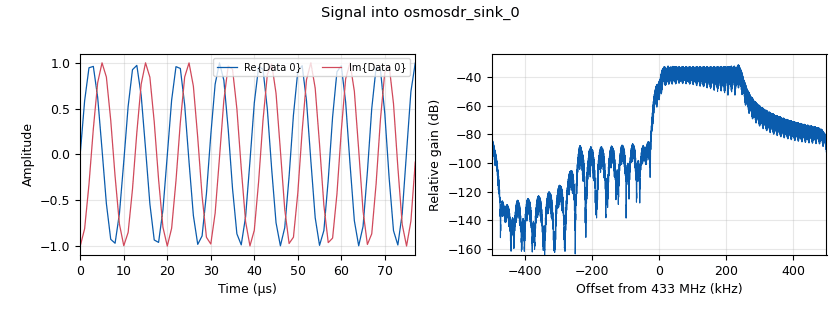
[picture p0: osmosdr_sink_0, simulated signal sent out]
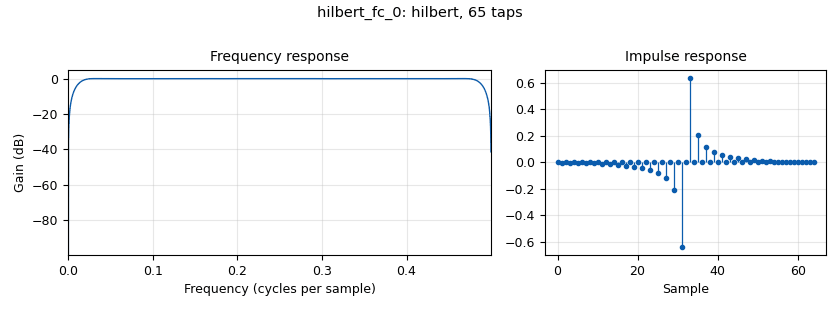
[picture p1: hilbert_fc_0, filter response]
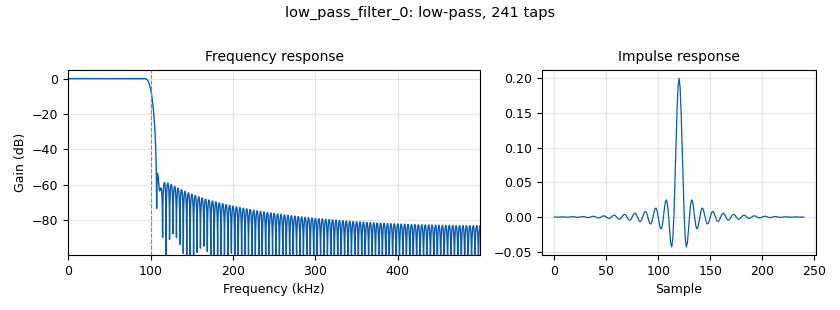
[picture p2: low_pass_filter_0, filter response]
options:
  parameters:
    author: popikeyshen
    generate_options: qt_gui
    id: id
    output_language: python
    title: Not titled yet
  states: {}

blocks:
- name: Bandwith
  id: variable_qtgui_range
  parameters:
    orient: Qt.Horizontal
    start: 1e5
    step: '100000'
    stop: 20e6
    value: 1e5
    widget: slider
  states: {}
- name: Frequency
  id: variable_qtgui_range
  parameters:
    orient: Qt.Horizontal
    start: 433e6
    step: 1e6
    stop: 2450e6
    value: 433e6
    widget: slider
  states: {}
- name: band
  id: variable
  parameters:
    value: '1000000'
  states: {}
- name: sample_rate
  id: variable
  parameters:
    value: int(1000000)
  states: {}
- name: analog_sig_source_x_0
  id: analog_sig_source_x
  parameters:
    amp: '0.5'
    freq: 1e3
    offset: '0'
    phase: '0'
    samp_rate: sample_rate
    type: float
    waveform: analog.GR_SAW_WAVE
  states: {}
- name: analog_sig_source_x_0_0
  id: analog_sig_source_x
  parameters:
    amp: '0.5'
    freq: 1e6
    offset: '0'
    phase: '0'
    samp_rate: sample_rate
    type: float
    waveform: analog.GR_SAW_WAVE
  states: {}
- name: blocks_vco_f_0
  id: blocks_vco_f
  parameters:
    amplitude: '1'
    samp_rate: sample_rate*2
    sensitivity: 6.28e6
  states: {}
- name: hilbert_fc_0
  id: hilbert_fc
  parameters:
    num_taps: '65'
    win: firdes.WIN_HAMMING
  states: {}
- name: low_pass_filter_0
  id: low_pass_filter
  parameters:
    cutoff_freq: 10e4
    decim: '1'
    gain: '1'
    samp_rate: sample_rate
    type: fir_filter_ccf
    width: 10e3
    win: firdes.WIN_HAMMING
  states: {}
- name: osmosdr_sink_0
  id: osmosdr_sink
  parameters:
    args: bladerf=0
    bb_gain0: '10'
    freq0: Frequency
    gain0: '5'
    if_gain0: '10'
    sample_rate: sample_rate
    sync: sync
    type: fc32
  states: {}
- name: osmosdr_source_0
  id: osmosdr_source
  parameters:
    args: bladerf=0
    bb_gain0: '20'
    freq0: Frequency
    gain0: '10'
    gain_mode0: 'False'
    if_gain0: '20'
    sample_rate: sample_rate
    sync: sync
    type: fc32
  states: {}
- name: qtgui_sink_x_0
  id: qtgui_sink_x
  parameters:
    bw: sample_rate
    fc: '0'
    fftsize: '1024'
    rate: '2'
    type: complex
    wintype: firdes.WIN_BLACKMAN_hARRIS
  states: {state: disabled}
- name: qtgui_time_sink_x_0
  id: qtgui_time_sink_x
  parameters:
    autoscale: 'True'
    nconnections: '2'
    size: '1024'
    srate: sample_rate
    type: complex
    update_time: '1'
  states: {}

connections:
- [analog_sig_source_x_0, '0', blocks_vco_f_0, '0']
- [blocks_vco_f_0, '0', hilbert_fc_0, '0']
- [hilbert_fc_0, '0', osmosdr_sink_0, '0']
- [hilbert_fc_0, '0', qtgui_time_sink_x_0, '0']
- [low_pass_filter_0, '0', qtgui_sink_x_0, '0']
- [low_pass_filter_0, '0', qtgui_time_sink_x_0, '1']
- [osmosdr_source_0, '0', low_pass_filter_0, '0']

metadata:
  file_format: 1
